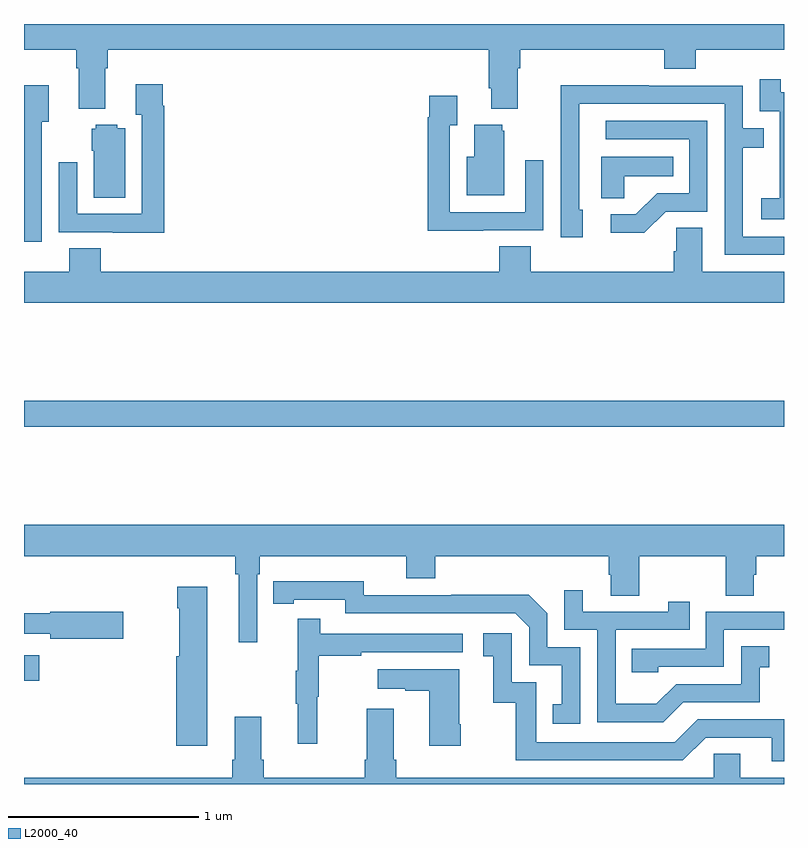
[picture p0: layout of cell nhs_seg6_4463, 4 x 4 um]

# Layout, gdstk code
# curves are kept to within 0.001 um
import gdstk
lib = gdstk.Library(unit=1e-6, precision=1e-09)
def R(c, l, rs):  # rectangles x0, y0, x1, y1
    for r in rs: c.add(gdstk.rectangle(r[:2], r[2:], *l))
def P(c, l, *ps):  # polygons
    for p in ps: c.add(gdstk.Polygon(p, *l))
L2000_40 = (2000, 40)

nhs_seg6_4463 = lib.new_cell('nhs_seg6_4463')
R(nhs_seg6_4463, L2000_40, [(375,916.043,375.079,916.177), (375,917.38,379,917.516)])
P(nhs_seg6_4463, L2000_40, [(375.427,919.268),(375.44,919.268),(375.44,919.364),(377.447,919.364),(377.447,919.162),(377.459,919.162),(377.459,919.055),(377.599,919.055),(377.599,919.268),(377.612,919.268),(377.612,919.364),(378.371,919.364),(378.371,919.265),(378.536,919.265),(378.536,919.364),(379,919.364),(379,919.5),(375,919.5),(375,919.364),(375.275,919.364),(375.275,919.268),(375.287,919.268),(375.287,919.055),(375.427,919.055)],
  [(379,919.14),(378.982,919.14),(378.982,919.21),(378.873,919.21),(378.873,919.041),(378.978,919.041),(378.978,918.812),(378.977,918.812),(378.977,918.583),(378.879,918.583),(378.879,918.473),(379,918.473)],
  [(375.737,919.07),(375.73,919.07),(375.73,919.183),(375.587,919.183),(375.587,919.022),(375.621,919.022),(375.621,918.501),(375.279,918.501),(375.279,918.772),(375.183,918.772),(375.183,918.405),(375.467,918.405),(375.467,918.401),(375.737,918.401)],
  [(379,918.381),(378.783,918.381),(378.783,918.85),(378.893,918.85),(378.893,918.951),(378.783,918.951),(378.783,919.176),(378.287,919.176),(378.287,919.178),(377.824,919.178),(377.824,918.871),(377.826,918.871),(377.826,918.378),(377.941,918.378),(377.941,918.522),(377.922,918.522),(377.922,919.08),(378.687,919.08),(378.687,918.285),(379,918.285)],
  [(375.093,918.986),(375.13,918.986),(375.13,919.178),(375,919.178),(375,918.354),(375.093,918.354)],
  [(377.417,918.414),(377.733,918.414),(377.733,918.784),(377.637,918.784),(377.637,918.51),(377.241,918.51),(377.241,918.967),(377.281,918.967),(377.281,919.123),(377.133,919.123),(377.133,919.01),(377.125,919.01),(377.125,918.413),(377.417,918.413)],
  [(378.378,918.513),(378.597,918.513),(378.597,918.99),(378.063,918.99),(378.063,918.894),(378.501,918.894),(378.501,918.609),(378.332,918.609),(378.221,918.498),(378.087,918.498),(378.087,918.401),(378.265,918.401)],
  [(377.527,918.939),(377.516,918.939),(377.516,918.97),(377.369,918.97),(377.369,918.802),(377.33,918.802),(377.33,918.599),(377.527,918.599)],
  [(375.532,918.952),(375.492,918.952),(375.492,918.97),(375.378,918.97),(375.378,918.948),(375.356,918.948),(375.356,918.834),(375.368,918.834),(375.368,918.586),(375.532,918.586)],
  [(378.159,918.698),(378.416,918.698),(378.416,918.802),(378.038,918.802),(378.038,918.583),(378.159,918.583)],
  [(379,918.196),(378.571,918.196),(378.571,918.428),(378.432,918.428),(378.432,918.305),(378.419,918.305),(378.419,918.196),(377.666,918.196),(377.666,918.329),(377.501,918.329),(377.501,918.196),(375.404,918.196),(375.404,918.32),(375.239,918.32),(375.239,918.196),(375,918.196),(375,918.032),(379,918.032)],
  [(376.227,916.604),(376.241,916.604),(376.241,916.7),(377.012,916.7),(377.012,916.583),(377.165,916.583),(377.165,916.7),(378.077,916.7),(378.077,916.602),(378.089,916.602),(378.089,916.492),(378.237,916.492),(378.237,916.7),(378.694,916.7),(378.694,916.492),(378.841,916.492),(378.841,916.602),(378.854,916.602),(378.854,916.7),(379,916.7),(379,916.864),(375,916.864),(375,916.7),(376.111,916.7),(376.111,916.604),(376.13,916.604),(376.13,916.245),(376.227,916.245)],
  [(377.928,916.221),(377.754,916.221),(377.754,916.398),(377.656,916.496),(377.248,916.496),(377.248,916.494),(376.788,916.494),(376.788,916.567),(376.312,916.566),(376.312,916.45),(376.42,916.45),(376.42,916.47),(376.692,916.47),(376.692,916.398),(377.586,916.398),(377.658,916.326),(377.658,916.125),(377.831,916.125),(377.831,915.921),(377.782,915.921),(377.782,915.816),(377.928,915.816)],
  [(375.964,916.537),(375.806,916.537),(375.806,916.424),(375.818,916.424),(375.818,916.173),(375.8,916.173),(375.8,915.702),(375.964,915.702)],
  [(378.469,915.93),(378.873,915.93),(378.873,916.115),(378.922,916.115),(378.922,916.225),(378.774,916.225),(378.774,916.026),(378.432,916.026),(378.328,915.922),(378.114,915.922),(378.114,916.311),(378.503,916.311),(378.503,916.459),(378.392,916.459),(378.392,916.407),(377.941,916.407),(377.941,916.519),(377.844,916.519),(377.844,916.311),(378.018,916.311),(378.018,915.825),(378.364,915.825)],
  [(378.339,916.116),(378.684,916.116),(378.684,916.311),(379,916.311),(379,916.407),(378.588,916.407),(378.588,916.212),(378.199,916.212),(378.199,916.089),(378.339,916.089)],
  [(375.523,916.407),(375.138,916.407),(375.138,916.399),(375,916.399),(375,916.29),(375.138,916.29),(375.138,916.265),(375.523,916.265)],
  [(376.544,915.96),(376.552,915.96),(376.552,916.174),(376.775,916.174),(376.775,916.194),(377.308,916.194),(377.308,916.29),(376.559,916.29),(376.559,916.369),(376.442,916.369),(376.442,916.097),(376.431,916.097),(376.431,915.923),(376.442,915.923),(376.442,915.711),(376.544,915.711)],
  [(379,915.84),(378.546,915.84),(378.426,915.72),(377.697,915.72),(377.697,916.035),(377.568,916.035),(377.568,916.294),(377.418,916.294),(377.418,916.173),(377.471,916.173),(377.471,915.927),(377.589,915.927),(377.589,915.624),(378.468,915.624),(378.588,915.744),(378.935,915.744),(378.935,915.621),(379,915.621)],
  [(377.298,915.814),(377.29,915.814),(377.29,916.105),(376.863,916.105),(376.863,916.001),(377.006,916.001),(377.006,915.991),(377.132,915.991),(377.132,915.702),(377.298,915.702)],
  [(379,915.532),(378.769,915.532),(378.769,915.659),(378.63,915.659),(378.63,915.532),(376.958,915.532),(376.958,915.628),(376.945,915.628),(376.945,915.895),(376.805,915.895),(376.805,915.628),(376.793,915.628),(376.793,915.532),(376.262,915.532),(376.262,915.628),(376.249,915.628),(376.249,915.853),(376.109,915.853),(376.109,915.628),(376.097,915.628),(376.097,915.532),(375,915.532),(375,915.5),(379,915.5)])

lib.write_gds('nhs_seg6_4463.gds')
